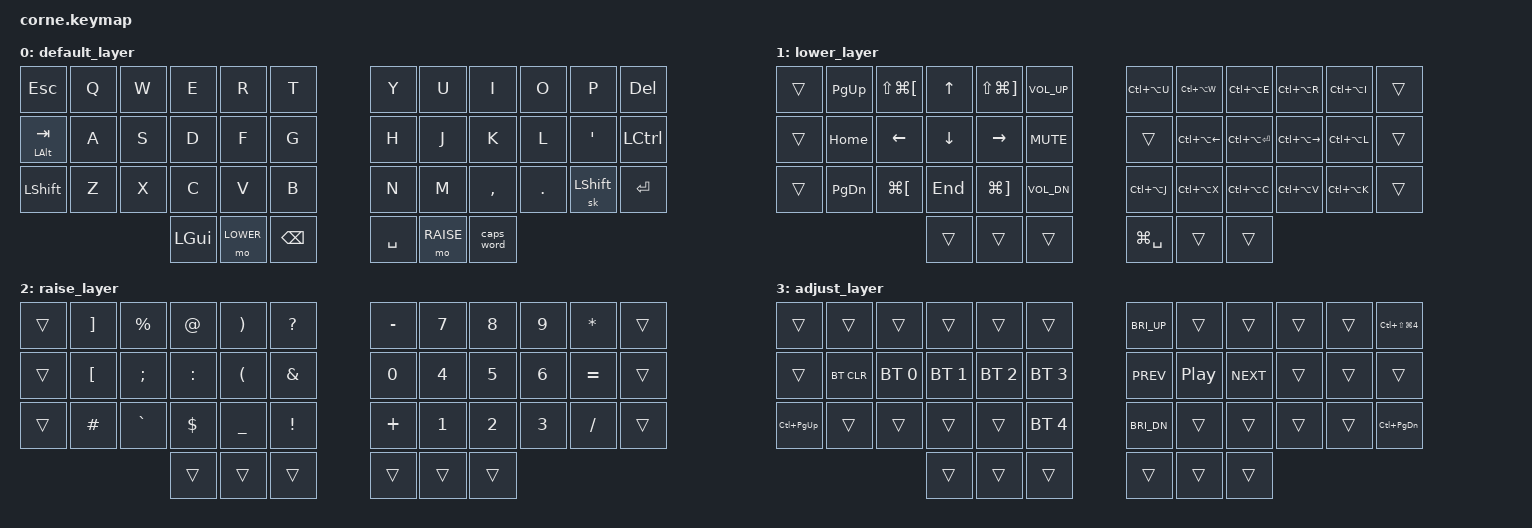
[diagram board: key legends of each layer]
/*
 * Copyright (c) 2020 The ZMK Contributors
 *
 * SPDX-License-Identifier: MIT
 */

#include <behaviors.dtsi>
#include <dt-bindings/zmk/keys.h>
#include <dt-bindings/zmk/bt.h>

#define LOWER 1
#define RAISE 2
#define ADJUST 3

&sk {
    release-after-ms = <2000>;
    quick-release;
};

&sl {
    release-after-ms = <2000>;
};


/ {
conditional_layers {
        compatible = "zmk,conditional-layers";
        
        tri_layer {
            if-layers = <LOWER RAISE>;
            then-layer = <ADJUST>;
        };
    };
};



/ {
        keymap {
                compatible = "zmk,keymap";

                default_layer {

                        bindings = <
&kp ESC         &kp Q   &kp W    &kp E    &kp R      &kp T           &kp Y      &kp U       &kp I     &kp O     &kp P      &kp DEL
&mt LALT TAB    &kp A   &kp S    &kp D    &kp F      &kp G           &kp H      &kp J       &kp K     &kp L     &kp SQT    &kp LCTRL
&kp LSHFT       &kp Z   &kp X    &kp C    &kp V      &kp B           &kp N      &kp M       &kp COMMA &kp DOT   &sk LSHFT  &kp RET
                                 &kp LGUI &mo LOWER  &kp BSPC        &kp SPACE  &mo RAISE   &caps_word
                        >;
                };
                lower_layer {

                        bindings = <
                                                                                                                                                                                                                
&trans       &kp PG_UP     &kp LS(LG(LBKT))     &kp UP      &kp LS(LG(RBKT))    &kp C_VOL_UP            &kp LC(LA(U))    &kp LC(LA(W))       &kp LC(LA(E))     &kp LC(LA(R))     &kp LC(LA(I))   &trans      
&trans       &kp HOME      &kp LEFT             &kp DOWN    &kp RIGHT           &kp C_MUTE              &trans           &kp LC(LA(LEFT))    &kp LC(LA(RET))   &kp LC(LA(RIGHT)) &kp LC(LA(L))   &trans
&trans       &kp PG_DN     &kp LG(LBKT)         &kp END     &kp LG(RBKT)        &kp C_VOL_DN            &kp LC(LA(J))    &kp LC(LA(X))       &kp LC(LA(C))     &kp LC(LA(V))     &kp LC(LA(K))   &trans        
                                                &trans      &trans              &trans                  &kp LG(SPACE)    &trans              &trans
                        >;
                };

                raise_layer {

                        bindings = <
&trans  &kp RBKT    &kp PERCENT  &kp AT       &kp RPAR   &kp QMARK          &kp MINUS   &kp N7   &kp N8   &kp N9   &kp ASTRK  &trans
&trans  &kp LBKT    &kp SEMI     &kp COLON    &kp LPAR   &kp AMPS           &kp N0      &kp N4   &kp N5   &kp N6   &kp EQUAL  &trans
&trans  &kp HASH    &kp GRAVE    &kp DOLLAR   &kp UNDER  &kp EXCL           &kp PLUS    &kp N1   &kp N2   &kp N3   &kp SLASH  &trans
                    	         &trans       &trans     &trans             &trans      &trans   &trans
                        >;
                };

                adjust_layer {

                        bindings = <
&trans          &trans        &trans            &trans          &trans           &trans                 &kp C_BRI_UP  &trans    &trans      &trans  &trans  &kp LC(LS(LG(N4)))
&trans          &bt BT_CLR    &bt BT_SEL 0      &bt BT_SEL 1    &bt BT_SEL 2     &bt BT_SEL 3           &kp C_PREV    &kp C_PP  &kp C_NEXT  &trans  &trans  &trans
&kp LC(PG_UP)   &trans        &trans            &trans          &trans           &bt BT_SEL 4           &kp C_BRI_DN  &trans    &trans      &trans  &trans  &kp LC(PG_DN)
                          	                &trans          &trans           &trans                 &trans        &trans    &trans 
                        >;
                };
    };
};
 
